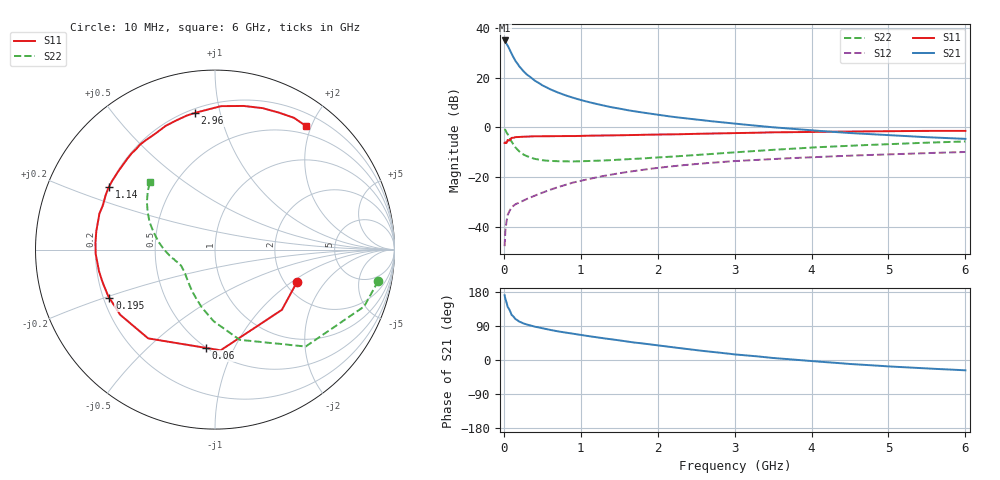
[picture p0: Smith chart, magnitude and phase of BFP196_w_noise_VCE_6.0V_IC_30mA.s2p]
! Infineon Technologies  Discrete & RF Semiconductors
! BFP196
! VCE = 6.0 V,  IC =  30mA
! Common Emitter S-Parameters:  Jan 2016
# GHz  S  MA  R  50
!  f  S11  S21  S12  S22
! GHz  MAG  ANG  MAG  ANG  MAG  ANG  MAG  ANG
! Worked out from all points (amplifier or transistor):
!   210 points, 10 MHz to 6 GHz, reference 50 ohm
!   highest |S21| = 35.0 dB at 10 MHz (marker M1)
!   |S21| within 3 dB of that: start of sweep to 64.31 MHz
!   unconditionally stable (mu >= 1): 590 MHz to 4.318 GHz
!   at 185 MHz: K = 0.57, MSG = 27.9 dB, |S12| = -30.4 dB
!   at 1.52 GHz: K = 1.09, MAG = 11.1 dB, |S12| = -18.3 dB
!   at 6 GHz: K = 0.97, MSG = 2.6 dB, |S12| = -9.9 dB
!   lowest NFmin = 1.40 dB at 500 MHz
!   S11 on the Smith chart (normalised r, x): 10 MHz: 2.31, -1.10; 60 MHz: 0.50, -0.78; 195 MHz: 0.22, -0.21; 1.14 GHz: 0.20, +0.26; 2.96 GHz: 0.22, +0.84; 6 GHz: 0.38, +1.92
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0.01  0.491 -21.7  56.36 171.0  0.0041 83.0  0.9257 -10.9
0.02  0.5014 -42.0  53.81 161.2  0.0084 74.8  0.8893 -20.9
0.05  0.562 -86.8  44.4 140.1  0.0174 59.4  0.7394 -46.9
0.06  0.55 -95.2  41.23 137.1  0.0188 55.9  0.6855 -51.0
0.1  0.6192 -127.0  30.22 119.3  0.0248 46.2  0.5212 -74.7
0.15  0.641 -145.5  21.93 108.2  0.0285 44.0  0.3988 -91.1
0.195  0.647 -155.3  17.54 102.2  0.0307 44.3  0.3374 -101.3
0.24  0.651 -162.4  14.42 97.8  0.0331 45.6  0.2963 -109.9
0.3  0.6573 -169.5  11.6 93.3  0.0366 48.0  0.265 -118.7
0.4  0.6652 -177.9  8.82 88.0  0.0424 51.2  0.2343 -129.6
0.5  0.6672 176.5  7.058 83.7  0.0487 53.8  0.2194 -137.0
0.6  0.6692 171.2  5.895 79.5  0.0557 55.0  0.2126 -142.2
0.7  0.6706 166.2  5.077 75.6  0.0628 56.6  0.2098 -146.4
1.02  0.6806 153.5  3.502 65.6  0.0861 56.5  0.2097 -155.0
1.14  0.6865 149.3  3.144 61.9  0.0945 55.9  0.2132 -157.4
1.6  0.7024 134.6  2.241 48.9  0.1272 51.7  0.2303 -164.8
2.02  0.7212 122.2  1.786 38.1  0.1552 46.6  0.2505 -171.4
2.96  0.7695 98.3  1.213 15.8  0.209 34.1  0.3132 173.1
3.1  0.7753 95.4  1.156 13.1  0.2152 32.2  0.3234 170.7
4.1  0.8182 77.2  0.855 -4.4  0.2562 20.2  0.4026 155.7
5.1  0.8442 63.7  0.688 -17.9  0.292 9.1  0.4686 143.9
6  0.8551 53.6  0.591 -27.2  0.3217 -0.7  0.5237 133.7
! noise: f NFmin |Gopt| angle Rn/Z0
0.5  1.4  0.4  -173  0.08
0.9  1.6  0.5  -166  0.08
1.5  2.4  0.61  -150  0.14
2  2.9  0.71  -129  0.2
